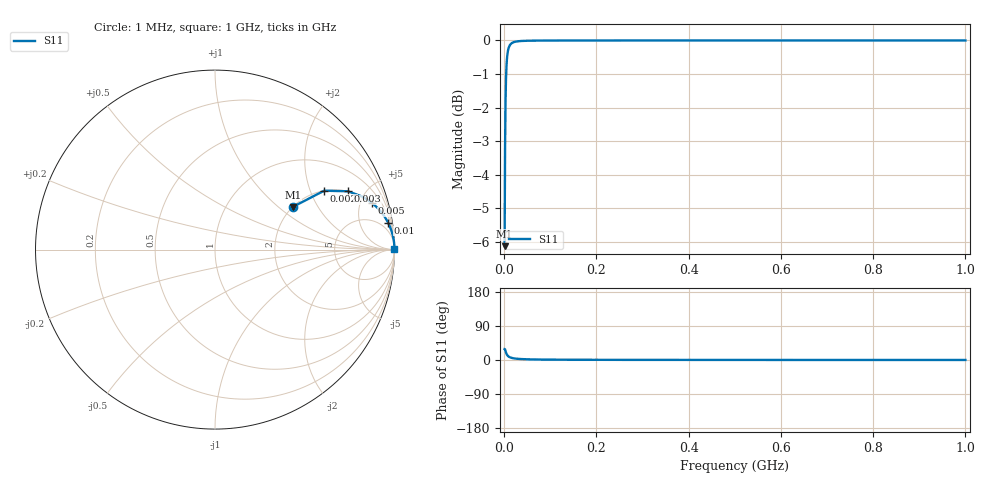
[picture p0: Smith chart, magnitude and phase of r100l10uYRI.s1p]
! AWR Design Environment (7670) Fri Mar 18 14:11:16 2016
! Document = 'RL'
! nPorts: 1, nXvals: 1000
# HZ Y RI R 50
!Freq ReY11 ImY11
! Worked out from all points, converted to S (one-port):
!   1000 points, 1 MHz to 1 GHz, reference 50 ohm
!   lowest |S11| = -6.1 dB at 1 MHz (marker M1), VSWR 2.95, Z = 100 + j62.8 ohm
!   |S11| at or under -10 dB: nowhere
!   S11 on the Smith chart (normalised r, x): 1 MHz: 2.00, +1.26; 2 MHz: 2.00, +2.51; 3 MHz: 2.00, +3.77; 5 MHz: 2.00, +6.28; 10 MHz: 2, +13; 1 GHz: open
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1000000  0.3585 -0.2252
2000000  0.1939 -0.2436
3000000  0.1098 -0.207
5000000  0.046 -0.1445
7000000  0.0246 -0.1081
8000000  0.019 -0.0957
9000000  0.0152 -0.0857
1e7  0.0124 -0.0776
1.1e7  0.0103 -0.0709
1.2e7  0.00864 -0.0652
1.4e7  0.00638 -0.0561
1.6e7  0.0049 -0.0492
1.9e7  0.00348 -0.0416
2.2e7  0.0026 -0.036
2.6e7  0.00187 -0.0305
3e7  0.0014 -0.0265
3.5e7  0.00103 -0.0227
4.8e7  0.000549 -0.0166
6.6e7  0.000291 -0.0121
9.1e7  0.000153 -0.00874
1.26e8  7.98e-05 -0.00631
2.51e8  2.01e-05 -0.00317
3.76e8  8.96e-06 -0.00212
5.01e8  5.05e-06 -0.00159
6.26e8  3.23e-06 -0.00127
7.51e8  2.25e-06 -0.00106
8.76e8  1.65e-06 -0.000908
1e9  1.27e-06 -0.000796
